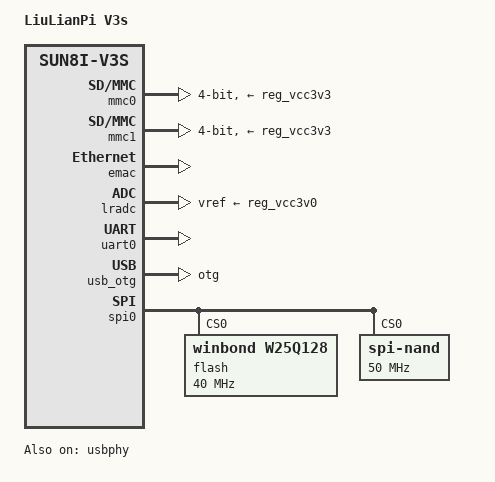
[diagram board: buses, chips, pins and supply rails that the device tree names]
/*
 * Copyright (C) 2016 Icenowy Zheng <icenowy@aosc.xyz>
 *
 * This file is dual-licensed: you can use it either under the terms
 * of the GPL or the X11 license, at your option. Note that this dual
 * licensing only applies to this file, and not this project as a
 * whole.
 *
 *  a) This file is free software; you can redistribute it and/or
 *     modify it under the terms of the GNU General Public License as
 *     published by the Free Software Foundation; either version 2 of the
 *     License, or (at your option) any later version.
 *
 *     This file is distributed in the hope that it will be useful,
 *     but WITHOUT ANY WARRANTY; without even the implied warranty of
 *     MERCHANTABILITY or FITNESS FOR A PARTICULAR PURPOSE.  See the
 *     GNU General Public License for more details.
 *
 * Or, alternatively,
 *
 *  b) Permission is hereby granted, free of charge, to any person
 *     obtaining a copy of this software and associated documentation
 *     files (the "Software"), to deal in the Software without
 *     restriction, including without limitation the rights to use,
 *     copy, modify, merge, publish, distribute, sublicense, and/or
 *     sell copies of the Software, and to permit persons to whom the
 *     Software is furnished to do so, subject to the following
 *     conditions:
 *
 *     The above copyright notice and this permission notice shall be
 *     included in all copies or substantial portions of the Software.
 *
 *     THE SOFTWARE IS PROVIDED "AS IS", WITHOUT WARRANTY OF ANY KIND,
 *     EXPRESS OR IMPLIED, INCLUDING BUT NOT LIMITED TO THE WARRANTIES
 *     OF MERCHANTABILITY, FITNESS FOR A PARTICULAR PURPOSE AND
 *     NONINFRINGEMENT. IN NO EVENT SHALL THE AUTHORS OR COPYRIGHT
 *     HOLDERS BE LIABLE FOR ANY CLAIM, DAMAGES OR OTHER LIABILITY,
 *     WHETHER IN AN ACTION OF CONTRACT, TORT OR OTHERWISE, ARISING
 *     FROM, OUT OF OR IN CONNECTION WITH THE SOFTWARE OR THE USE OR
 *     OTHER DEALINGS IN THE SOFTWARE.
 */

/dts-v1/;
#include "sun8i-v3s.dtsi"
#include "sunxi-common-regulators.dtsi"
#include <dt-bindings/input/linux-event-codes.h>

/ {
	model = "LiuLianPi V3s";
	compatible = "liulianpi,liulianpi-v3s", "allwinner,sun8i-v3s";

	aliases {
		mmc0 = &mmc0;
		serial0 = &uart0;
		spi0 = &spi0;
		ethernet0 = &emac;
	};

	chosen {
		stdout-path = "serial0:115200n8";
	};
};

&mmc0 {
	broken-cd;
	bus-width = <4>;
	vmmc-supply = <&reg_vcc3v3>;
	status = "okay";
};

&mmc1 {
	broken-cd;
	bus-width = <4>;
	vmmc-supply = <&reg_vcc3v3>;
	status = "okay";
};

&emac {
	allwinner,leds-active-low;
	status = "okay";
};

&lradc {
	vref-supply = <&reg_vcc3v0>;
	status = "okay";

	button-200 {
		label = "Volume Up";
		linux,code = <KEY_VOLUMEUP>;
		channel = <0>;
		voltage = <200000>;
	};

	button-400 {
		label = "Volume Down";
		linux,code = <KEY_VOLUMEDOWN>;
		channel = <0>;
		voltage = <400000>;
	};

	button-600 {
		label = "Select";
		linux,code = <KEY_SELECT>;
		channel = <0>;
		voltage = <600000>;
	};

	button-800 {
		label = "Start";
		linux,code = <KEY_OK>;
		channel = <0>;
		voltage = <800000>;
	};
};

&uart0 {
	pinctrl-0 = <&uart0_pb_pins>;
	pinctrl-names = "default";
	status = "okay";
};

&usb_otg {
	dr_mode = "otg";
	status = "okay";
};

&usbphy {
	usb0_id_det-gpios = <&pio 5 6 GPIO_ACTIVE_HIGH>;
	status = "okay";
};

&spi0 {
	status = "okay";

	flash@0 {
		#address-cells = <1>;
		#size-cells = <1>;
		compatible = "winbond,w25q128", "jedec,spi-nor";
		reg = <0>;
		spi-max-frequency = <40000000>;
	};

	spi-nand@0 {
		#address-cells = <1>;
		#size-cells = <1>;
		compatible = "spi-nand";
		reg = <0>;
		spi-max-frequency = <50000000>;
	};
};
